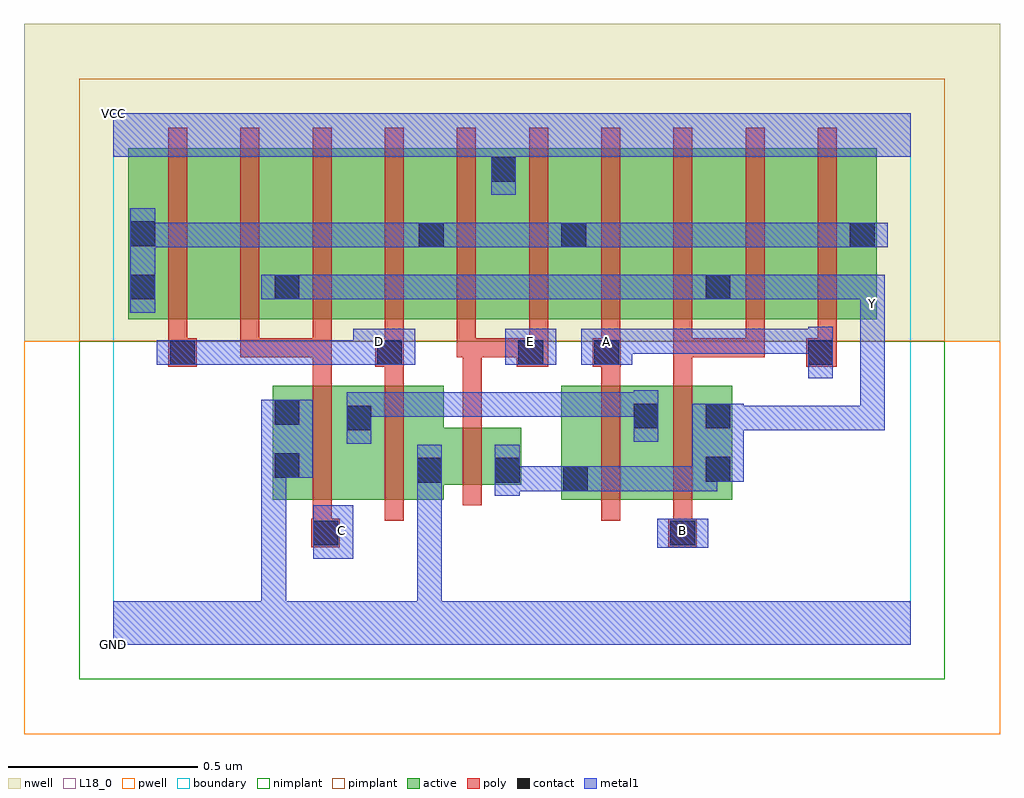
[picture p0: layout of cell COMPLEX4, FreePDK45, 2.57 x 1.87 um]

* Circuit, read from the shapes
.subckt COMPLEX4 A B C D E GND VCC Y
M1 n1 C GND VSUBS nfet w=0.3u l=0.05u
M2 GND D n1 VSUBS nfet w=0.3u l=0.05u
M3 Y E GND VSUBS nfet w=0.15u l=0.05u
M4 n1 A Y VSUBS nfet w=0.3u l=0.05u
M5 Y B n1 VSUBS nfet w=0.3u l=0.05u
M6 n2 D n3 n4 pfet w=0.45u l=0.05u
M7 Y C n2 n4 pfet w=0.45u l=0.05u
M8 n5 C Y n4 pfet w=0.45u l=0.05u
M9 n3 D n5 n4 pfet w=0.45u l=0.05u
M10 VCC E n3 n4 pfet w=0.45u l=0.05u m=2
M11 n6 A n3 n4 pfet w=0.45u l=0.05u
M12 Y B n6 n4 pfet w=0.45u l=0.05u
M13 n7 B Y n4 pfet w=0.45u l=0.05u
M14 n3 A n7 n4 pfet w=0.45u l=0.05u
.ends

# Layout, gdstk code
import gdstk
lib = gdstk.Library(unit=1e-6, precision=1e-09)
def R(c, l, rs):  # rectangles x0, y0, x1, y1
    for r in rs: c.add(gdstk.rectangle(r[:2], r[2:], *l))
def A(c, l, x, y, w, h, nx, ny, dx, dy):  # array of equal rectangles
    R(c, l, [(x+i*dx, y+j*dy, x+i*dx+w, y+j*dy+h) for i in range(nx) for j in range(ny)])
active = (1, 0)
pwell = (2, 0)
nwell = (3, 0)
nimplant = (4, 0)
pimplant = (5, 0)
poly = (9, 0)
contact = (10, 0)
metal1 = (11, 0)
L18_0 = (18, 0)
boundary = (235, 0)

complex4 = lib.new_cell('COMPLEX4')
R(complex4, active, [(0.42,0.382,0.495,0.682), (0.42,0.382,0.685,0.682), (0.61,0.382,0.87,0.682), (0.61,0.382,0.685,0.635), (1.18,0.382,1.44,0.682), (1.18,0.382,1.255,0.597), (1.365,0.382,1.63,0.682), (1.555,0.382,1.63,0.682), (0.795,0.422,1.075,0.572), (0.795,0.422,0.87,0.51), (1,0.422,1.075,0.532), (1.365,0.445,1.44,0.64), (0.04,0.857,0.265,1.307), (0.04,0.857,0.145,1.2), (0.265,0.857,0.495,1.307), (0.42,0.857,0.645,1.307), (0.42,0.857,0.495,1.07), (0.645,0.857,0.875,1.307), (0.8,0.857,0.875,1.2), (0.8,0.857,1.065,1.307), (0.99,0.857,1.25,1.307), (0.99,0.857,1.065,1.307), (1.175,0.857,1.25,1.2), (1.175,0.857,1.405,1.307), (1.405,0.857,1.63,1.307), (1.555,0.857,1.785,1.307), (1.555,0.857,1.63,1.07), (1.785,0.857,2.01,1.307), (1.935,0.857,2.01,1.2)])
R(complex4, pwell, [(-0.235,-0.235,2.335,0.8)])
R(complex4, nwell, [(-0.235,0.8,2.335,1.635)])
R(complex4, nimplant, [(-0.09,-0.09,2.19,0.8)])
R(complex4, pimplant, [(-0.09,0.8,2.19,1.49)])
A(complex4, poly, 0.145, 0.757, 0.05, 0.095, 10, 1, 0.19, 0)
A(complex4, poly, 0.145, 0.802, 0.05, 0.56, 10, 1, 0.19, 0)
R(complex4, poly, [(0.522,0.257,0.597,0.332), (1.462,0.257,1.537,0.332), (0.525,0.282,0.575,0.377), (1.475,0.282,1.525,0.377), (0.525,0.327,0.575,0.737), (0.715,0.327,0.765,0.737), (1.285,0.327,1.335,0.737), (1.475,0.327,1.525,0.737), (0.92,0.367,0.97,0.627), (0.92,0.577,0.97,0.807), (0.525,0.687,0.575,0.807), (0.715,0.687,0.765,0.782), (1.285,0.687,1.335,0.782), (1.475,0.687,1.525,0.807), (0.145,0.732,0.22,0.807), (0.69,0.732,0.765,0.807), (1.062,0.732,1.145,0.807), (1.262,0.732,1.337,0.807), (1.825,0.732,1.905,0.807), (0.335,0.757,0.385,0.807), (0.335,0.757,0.385,0.807), (0.335,0.757,0.385,0.807), (0.335,0.757,0.575,0.807), (0.525,0.757,0.575,0.807), (0.905,0.757,0.97,0.807), (0.92,0.757,0.97,0.807), (0.92,0.757,0.97,0.807), (0.92,0.757,1.112,0.807), (1.475,0.757,1.525,0.807), (1.475,0.757,1.715,0.807), (1.665,0.757,1.715,0.807), (1.665,0.757,1.715,0.807), (1.665,0.757,1.715,0.807)])
R(complex4, contact, [(0.527,0.262,0.592,0.327), (1.467,0.262,1.532,0.327), (1.185,0.405,1.25,0.47), (0.8,0.427,0.865,0.492), (1.005,0.427,1.07,0.492), (1.56,0.43,1.625,0.495), (0.425,0.44,0.49,0.505), (0.615,0.565,0.68,0.63), (1.37,0.57,1.435,0.635), (1.56,0.57,1.625,0.635), (0.425,0.58,0.49,0.645), (0.15,0.737,0.215,0.802), (0.695,0.737,0.76,0.802), (1.067,0.737,1.132,0.802), (1.267,0.737,1.332,0.802), (1.83,0.737,1.895,0.802), (0.045,0.91,0.11,0.975), (0.425,0.91,0.49,0.975), (1.56,0.91,1.625,0.975), (0.805,1.047,0.87,1.112), (1.18,1.047,1.245,1.112), (1.94,1.047,2.005,1.112), (0.045,1.05,0.11,1.115), (0.995,1.22,1.06,1.285)])
R(complex4, metal1, [(0,0,2.1,0.115), (0.39,0.05,0.455,0.115), (0.39,0.05,0.455,0.115), (0.39,0.05,0.455,0.115), (0.39,0.05,0.455,0.115), (0.39,0.05,0.455,0.115), (0.39,0.05,0.455,0.115), (0.39,0.05,0.455,0.505), (0.8,0.05,0.865,0.115), (0.8,0.05,0.865,0.115), (0.8,0.05,0.865,0.115), (0.8,0.05,0.865,0.115), (0.8,0.05,0.865,0.457), (0.527,0.227,0.632,0.367), (1.432,0.255,1.567,0.332), (0.8,0.392,0.865,0.457), (0.8,0.392,0.865,0.457), (0.8,0.392,0.865,0.527), (1.005,0.392,1.07,0.527), (1.005,0.405,1.07,0.47), (1.005,0.405,1.07,0.47), (1.005,0.405,1.215,0.47), (1.15,0.405,1.285,0.47), (1.22,0.405,1.285,0.47), (1.22,0.405,1.285,0.47), (1.22,0.405,1.422,0.47), (1.357,0.405,1.422,0.47), (1.357,0.405,1.557,0.47), (1.492,0.405,1.557,0.47), (1.492,0.405,1.59,0.47), (1.525,0.405,1.59,0.47), (1.525,0.405,1.59,0.495), (1.525,0.43,1.66,0.635), (0.39,0.44,0.525,0.645), (0.615,0.53,0.68,0.665), (1.37,0.535,1.435,0.67), (1.595,0.565,1.695,0.63), (1.63,0.565,1.695,0.63), (1.63,0.565,1.832,0.63), (1.767,0.565,1.832,0.63), (1.767,0.565,2.032,0.63), (1.967,0.565,2.032,0.63), (1.967,0.565,2.032,0.63), (1.967,0.565,2.032,0.63), (1.967,0.565,2.032,0.897), (0.615,0.6,0.68,0.665), (0.615,0.6,0.68,0.665), (0.615,0.6,0.835,0.665), (0.77,0.6,0.835,0.665), (0.77,0.6,0.835,0.665), (0.77,0.6,0.835,0.665), (0.77,0.6,1.072,0.665), (1.007,0.6,1.072,0.665), (1.007,0.6,1.072,0.665), (1.007,0.6,1.072,0.665), (1.007,0.6,1.21,0.665), (1.145,0.6,1.21,0.665), (1.145,0.6,1.21,0.665), (1.145,0.6,1.21,0.665), (1.145,0.6,1.435,0.665), (1.83,0.702,1.895,0.837), (0.115,0.737,0.25,0.802), (0.185,0.737,0.25,0.802), (0.185,0.737,0.25,0.802), (0.185,0.737,0.387,0.802), (0.322,0.737,0.387,0.802), (0.322,0.737,0.387,0.802), (0.322,0.737,0.387,0.802), (0.322,0.737,0.525,0.802), (0.46,0.737,0.525,0.802), (0.46,0.737,0.697,0.802), (0.632,0.737,0.697,0.802), (0.632,0.737,0.697,0.802), (0.632,0.737,0.795,0.832), (1.032,0.737,1.167,0.832), (1.232,0.737,1.367,0.832), (1.302,0.767,1.422,0.832), (1.357,0.767,1.422,0.832), (1.357,0.767,1.557,0.832), (1.492,0.767,1.557,0.832), (1.492,0.767,1.695,0.832), (1.63,0.767,1.695,0.832), (1.63,0.767,1.695,0.832), (1.63,0.767,1.695,0.832), (1.63,0.767,1.832,0.832), (1.767,0.767,1.832,0.832), (1.767,0.767,1.895,0.832), (1.967,0.832,2.032,0.967), (0.045,0.875,0.11,1.15), (1.967,0.902,2.032,0.975), (0.39,0.91,0.525,0.975), (0.46,0.91,0.525,0.975), (0.46,0.91,0.525,0.975), (0.46,0.91,0.697,0.975), (0.632,0.91,0.697,0.975), (0.632,0.91,0.697,0.975), (0.632,0.91,0.697,0.975), (0.632,0.91,0.835,0.975), (0.77,0.91,0.835,0.975), (0.77,0.91,0.835,0.975), (0.77,0.91,0.835,0.975), (0.77,0.91,1.072,0.975), (1.007,0.91,1.072,0.975), (1.007,0.91,1.072,0.975), (1.007,0.91,1.072,0.975), (1.007,0.91,1.21,0.975), (1.145,0.91,1.21,0.975), (1.145,0.91,1.21,0.975), (1.145,0.91,1.21,0.975), (1.145,0.91,1.422,0.975), (1.357,0.91,1.422,0.975), (1.357,0.91,1.505,0.975), (1.44,0.91,1.505,0.975), (1.44,0.91,1.59,0.975), (1.525,0.91,1.66,0.975), (1.595,0.91,1.695,0.975), (1.63,0.91,1.695,0.975), (1.63,0.91,1.832,0.975), (1.767,0.91,1.832,0.975), (1.767,0.91,1.832,0.975), (1.767,0.91,1.832,0.975), (1.767,0.91,2.032,0.975), (1.967,0.91,2.032,0.975), (0.045,1.047,0.11,1.112), (0.045,1.047,0.11,1.112), (0.045,1.047,0.247,1.112), (0.182,1.047,0.247,1.112), (0.182,1.047,0.247,1.112), (0.182,1.047,0.247,1.112), (0.182,1.047,0.387,1.112), (0.322,1.047,0.387,1.112), (0.322,1.047,0.387,1.112), (0.322,1.047,0.387,1.112), (0.322,1.047,0.525,1.112), (0.46,1.047,0.525,1.112), (0.46,1.047,0.697,1.112), (0.632,1.047,0.697,1.112), (0.632,1.047,0.697,1.112), (0.632,1.047,0.697,1.112), (0.632,1.047,0.835,1.112), (0.77,1.047,0.905,1.112), (0.84,1.047,0.905,1.112), (0.84,1.047,0.905,1.112), (0.84,1.047,1.072,1.112), (1.007,1.047,1.072,1.112), (1.007,1.047,1.072,1.112), (1.007,1.047,1.072,1.112), (1.007,1.047,1.21,1.112), (1.145,1.047,1.28,1.112), (1.215,1.047,1.28,1.112), (1.215,1.047,1.28,1.112), (1.215,1.047,1.422,1.112), (1.357,1.047,1.422,1.112), (1.357,1.047,1.505,1.112), (1.44,1.047,1.505,1.112), (1.44,1.047,1.695,1.112), (1.63,1.047,1.695,1.112), (1.63,1.047,1.695,1.112), (1.63,1.047,1.695,1.112), (1.63,1.047,1.832,1.112), (1.767,1.047,1.832,1.112), (1.767,1.047,1.97,1.112), (1.905,1.047,1.97,1.112), (1.905,1.047,1.97,1.112), (1.905,1.047,2.04,1.112), (0.995,1.185,1.06,1.32), (0.995,1.255,1.06,1.35), (0,1.285,2.1,1.4)])
R(complex4, L18_0, [(0,0,2.1,0.115), (0.39,0.05,0.455,0.115), (0.39,0.05,0.455,0.115), (0.39,0.05,0.455,0.115), (0.39,0.05,0.455,0.115), (0.39,0.05,0.455,0.115), (0.39,0.05,0.455,0.115), (0.39,0.05,0.455,0.505), (0.8,0.05,0.865,0.115), (0.8,0.05,0.865,0.115), (0.8,0.05,0.865,0.115), (0.8,0.05,0.865,0.115), (0.8,0.05,0.865,0.457), (0.527,0.227,0.632,0.367), (1.432,0.255,1.567,0.332), (0.567,0.267,0.632,0.332), (1.467,0.267,1.532,0.332), (0.8,0.392,0.865,0.457), (0.8,0.392,0.865,0.457), (0.8,0.392,0.865,0.527), (1.005,0.392,1.07,0.527), (1.005,0.405,1.07,0.47), (1.005,0.405,1.07,0.47), (1.005,0.405,1.215,0.47), (1.15,0.405,1.285,0.47), (1.22,0.405,1.285,0.47), (1.22,0.405,1.285,0.47), (1.22,0.405,1.422,0.47), (1.357,0.405,1.422,0.47), (1.357,0.405,1.557,0.47), (1.492,0.405,1.557,0.47), (1.492,0.405,1.59,0.47), (1.525,0.405,1.59,0.47), (1.525,0.405,1.59,0.495), (1.525,0.43,1.66,0.635), (0.39,0.44,0.525,0.645), (1.595,0.565,1.695,0.63), (1.63,0.565,1.695,0.63), (1.63,0.565,1.832,0.63), (1.767,0.565,1.832,0.63), (1.767,0.565,2.032,0.63), (1.967,0.565,2.032,0.63), (1.967,0.565,2.032,0.63), (1.967,0.565,2.032,0.63), (1.967,0.565,2.032,0.897), (1.83,0.702,1.895,0.837), (0.115,0.737,0.25,0.802), (0.185,0.737,0.25,0.802), (0.185,0.737,0.25,0.802), (0.185,0.737,0.387,0.802), (0.322,0.737,0.387,0.802), (0.322,0.737,0.387,0.802), (0.322,0.737,0.387,0.802), (0.322,0.737,0.525,0.802), (0.46,0.737,0.525,0.802), (0.46,0.737,0.697,0.802), (0.632,0.737,0.697,0.802), (0.632,0.737,0.697,0.802), (0.632,0.737,0.795,0.832), (1.032,0.737,1.167,0.832), (1.232,0.737,1.367,0.832), (0.667,0.767,0.732,0.832), (1.067,0.767,1.132,0.832), (1.267,0.767,1.332,0.832), (1.302,0.767,1.422,0.832), (1.357,0.767,1.422,0.832), (1.357,0.767,1.557,0.832), (1.492,0.767,1.557,0.832), (1.492,0.767,1.695,0.832), (1.63,0.767,1.695,0.832), (1.63,0.767,1.695,0.832), (1.63,0.767,1.695,0.832), (1.63,0.767,1.832,0.832), (1.767,0.767,1.832,0.832), (1.767,0.767,1.895,0.832), (1.967,0.832,2.032,0.967), (1.967,0.867,2.032,0.932), (1.967,0.902,2.032,0.975), (0.39,0.91,0.525,0.975), (0.46,0.91,0.525,0.975), (0.46,0.91,0.525,0.975), (0.46,0.91,0.697,0.975), (0.632,0.91,0.697,0.975), (0.632,0.91,0.697,0.975), (0.632,0.91,0.697,0.975), (0.632,0.91,0.835,0.975), (0.77,0.91,0.835,0.975), (0.77,0.91,0.835,0.975), (0.77,0.91,0.835,0.975), (0.77,0.91,1.072,0.975), (1.007,0.91,1.072,0.975), (1.007,0.91,1.072,0.975), (1.007,0.91,1.072,0.975), (1.007,0.91,1.21,0.975), (1.145,0.91,1.21,0.975), (1.145,0.91,1.21,0.975), (1.145,0.91,1.21,0.975), (1.145,0.91,1.422,0.975), (1.357,0.91,1.422,0.975), (1.357,0.91,1.505,0.975), (1.44,0.91,1.505,0.975), (1.44,0.91,1.59,0.975), (1.525,0.91,1.66,0.975), (1.595,0.91,1.695,0.975), (1.63,0.91,1.695,0.975), (1.63,0.91,1.832,0.975), (1.767,0.91,1.832,0.975), (1.767,0.91,1.832,0.975), (1.767,0.91,1.832,0.975), (1.767,0.91,2.032,0.975), (1.967,0.91,2.032,0.975), (0.995,1.185,1.06,1.32), (0.995,1.255,1.06,1.35), (0,1.285,2.1,1.4)])
R(complex4, boundary, [(0,0,2.1,1.4)])
complex4.add(gdstk.Label('A', (1.3,0.8), layer=11, texttype=0))
complex4.add(gdstk.Label('B', (1.5,0.3), layer=11, texttype=0))
complex4.add(gdstk.Label('C', (0.6,0.3), layer=11, texttype=0))
complex4.add(gdstk.Label('D', (0.7,0.8), layer=11, texttype=0))
complex4.add(gdstk.Label('E', (1.1,0.8), layer=11, texttype=0))
complex4.add(gdstk.Label('Y', (2,0.9), layer=11, texttype=0))
complex4.add(gdstk.Label('VCC', (0,1.4), layer=11, texttype=0))
complex4.add(gdstk.Label('GND', (0,0), layer=11, texttype=0))

lib.write_gds('COMPLEX4.gds')
